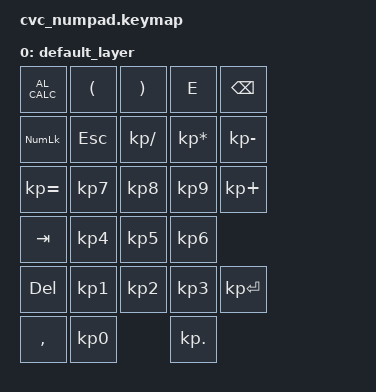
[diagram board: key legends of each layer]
#include <behaviors.dtsi>
#include <dt-bindings/zmk/keys.h>

/ {
    keymap {
        compatible = "zmk,keymap";

        default_layer {
// ---------------------------------------------------
// |   ESC   |    Q    |    W    |    E    |    R    |
// |   TAB   |    A    |    S    |    D    |    F    |
// |  SHIFT  |    Z    |    X    |    C    |    V    |
//                               |   GUI   |   DEL   |
            bindings = <
    &kp C_AL_CALC   &kp LPAR    &kp RPAR        &kp E           &kp BSPC     
    &kp KP_NUM      &kp ESC     &kp KP_SLASH    &kp KP_ASTERISK &kp KP_MINUS     
    &kp KP_EQUAL    &kp KP_N7   &kp KP_N8       &kp KP_N9       &kp KP_PLUS     
    &kp TAB         &kp KP_N4   &kp KP_N5       &kp KP_N6   
    &kp DEL         &kp KP_N1   &kp KP_N2       &kp KP_N3       &kp KP_ENTER     
    &kp COMMA           &kp KP_N0           &kp KP_DOT  
            >;
        };
    };
};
